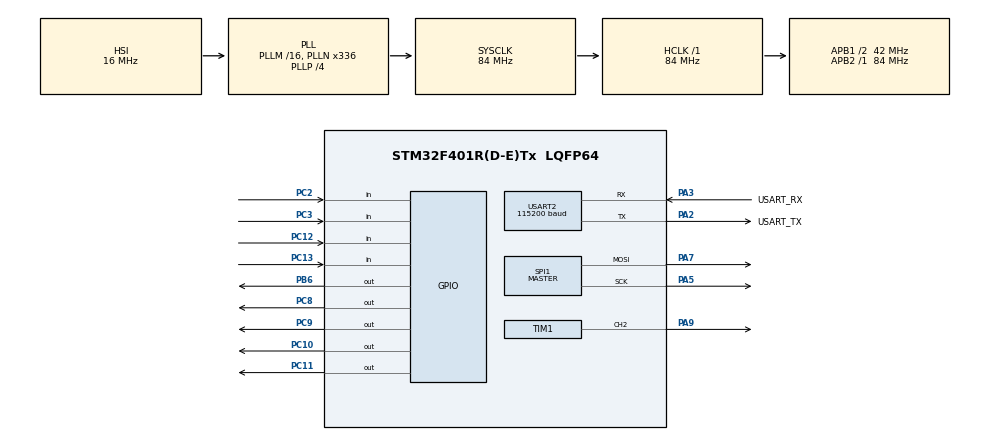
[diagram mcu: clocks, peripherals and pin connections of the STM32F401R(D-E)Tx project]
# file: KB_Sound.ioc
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Dma.Request0=USART2_TX
Dma.Request1=SPI1_TX
Dma.SPI1_TX.1.Direction=DMA_MEMORY_TO_PERIPH
Dma.SPI1_TX.1.FIFOMode=DMA_FIFOMODE_DISABLE
Dma.SPI1_TX.1.Instance=DMA2_Stream3
Dma.SPI1_TX.1.MemDataAlignment=DMA_MDATAALIGN_BYTE
Dma.SPI1_TX.1.MemInc=DMA_MINC_ENABLE
Dma.SPI1_TX.1.Mode=DMA_NORMAL
Dma.SPI1_TX.1.PeriphDataAlignment=DMA_PDATAALIGN_BYTE
Dma.SPI1_TX.1.PeriphInc=DMA_PINC_DISABLE
Dma.SPI1_TX.1.Priority=DMA_PRIORITY_LOW
Dma.USART2_TX.0.Direction=DMA_MEMORY_TO_PERIPH
Dma.USART2_TX.0.FIFOMode=DMA_FIFOMODE_DISABLE
Dma.USART2_TX.0.Instance=DMA1_Stream6
Dma.USART2_TX.0.MemDataAlignment=DMA_MDATAALIGN_BYTE
Dma.USART2_TX.0.MemInc=DMA_MINC_ENABLE
Dma.USART2_TX.0.Mode=DMA_NORMAL
Dma.USART2_TX.0.PeriphDataAlignment=DMA_PDATAALIGN_BYTE
Dma.USART2_TX.0.PeriphInc=DMA_PINC_DISABLE
Dma.USART2_TX.0.Priority=DMA_PRIORITY_LOW
Mcu.Family=STM32F4
Mcu.Name=STM32F401R(D-E)Tx
Mcu.Package=LQFP64
NVIC.DMA1_Stream6_IRQn=true\:0\:0\:false\:false\:true\:false\:true\:true
NVIC.DMA2_Stream3_IRQn=true\:0\:0\:false\:false\:true\:false\:true\:true
NVIC.PriorityGroup=NVIC_PRIORITYGROUP_1
NVIC.SPI1_IRQn=true\:0\:0\:false\:false\:true\:true\:true\:true
NVIC.TIM2_IRQn=true\:0\:0\:false\:false\:true\:true\:true\:true
NVIC.TIM3_IRQn=true\:1\:0\:true\:false\:true\:true\:true\:true
NVIC.USART2_IRQn=true\:0\:0\:false\:false\:true\:true\:true\:true
PA13.GPIO_Label=TMS
PA13.Mode=Serial_Wire
PA13.Signal=SYS_JTMS-SWDIO
PA14.GPIO_Label=TCK
PA14.Mode=Serial_Wire
PA14.Signal=SYS_JTCK-SWCLK
PA2.GPIO_Label=USART_TX
PA2.GPIO_Mode=GPIO_MODE_AF_PP
PA2.GPIO_PuPd=GPIO_NOPULL
PA2.GPIO_Speed=GPIO_SPEED_FREQ_LOW
PA2.Mode=Asynchronous
PA2.Signal=USART2_TX
PA3.GPIO_Label=USART_RX
PA3.GPIO_Mode=GPIO_MODE_AF_PP
PA3.GPIO_PuPd=GPIO_NOPULL
PA3.GPIO_Speed=GPIO_SPEED_FREQ_LOW
PA3.Mode=Asynchronous
PA3.Signal=USART2_RX
PA5.Mode=TX_Only_Simplex_Unidirect_Master
PA5.Signal=SPI1_SCK
PA7.Mode=TX_Only_Simplex_Unidirect_Master
PA7.Signal=SPI1_MOSI
PA9.Signal=S_TIM1_CH2
PB3.GPIO_Label=SWO
PB3.Signal=SYS_JTDO-SWO
PB6.Signal=GPIO_Output
PC10.Signal=GPIO_Output
PC11.Signal=GPIO_Output
PC12.Signal=GPIO_Input
PC13-ANTI_TAMP.Signal=GPIO_Input
PC14-OSC32_IN.Mode=LSE-External-Oscillator
PC14-OSC32_IN.Signal=RCC_OSC32_IN
PC15-OSC32_OUT.Mode=LSE-External-Oscillator
PC15-OSC32_OUT.Signal=RCC_OSC32_OUT
PC2.Signal=GPIO_Input
PC3.Signal=GPIO_Input
PC8.Signal=GPIO_Output
PC9.Signal=GPIO_Output
PH0\ -\ OSC_IN.Mode=HSE-External-Clock-Source
PH0\ -\ OSC_IN.Signal=RCC_OSC_IN
PH1\ -\ OSC_OUT.Mode=HSE-External-Clock-Source
PH1\ -\ OSC_OUT.Signal=RCC_OSC_OUT
ProjectManager.HeapSize=0x200
ProjectManager.StackSize=0x400
ProjectManager.TargetToolchain=STM32CubeIDE
RCC.48MHZClocksFreq_Value=48000000
RCC.AHBFreq_Value=84000000
RCC.APB1CLKDivider=RCC_HCLK_DIV2
RCC.APB1Freq_Value=42000000
RCC.APB1TimFreq_Value=84000000
RCC.APB2Freq_Value=84000000
RCC.APB2TimFreq_Value=84000000
RCC.CortexFreq_Value=84000000
RCC.HCLKFreq_Value=84000000
RCC.HSE_VALUE=8000000
RCC.HSI_VALUE=16000000
RCC.PLLN=336
RCC.PLLP=RCC_PLLP_DIV4
RCC.PLLQ=7
RCC.SYSCLKFreq_VALUE=84000000
RCC.SYSCLKSource=RCC_SYSCLKSOURCE_PLLCLK
RCC.VCOOutputFreq_Value=336000000
SH.S_TIM1_CH2.0=TIM1_CH2,PWM Generation2 CH2
SPI1.BaudRatePrescaler=SPI_BAUDRATEPRESCALER_4
SPI1.Direction=SPI_DIRECTION_2LINES
SPI1.Mode=SPI_MODE_MASTER
SPI1.VirtualType=VM_MASTER
TIM1.Channel-PWM\ Generation2\ CH2=TIM_CHANNEL_2
TIM1.Period=1908
TIM1.Prescaler=99
TIM1.Pulse-PWM\ Generation2\ CH2=954
TIM2.Period=9999
TIM2.Prescaler=8399
TIM3.Period=39
TIM3.Prescaler=8399
USART2.BaudRate=115200
USART2.VirtualMode=VM_ASYNC
VP_TIM1_VS_ClockSourceINT.Mode=Internal
VP_TIM2_VS_ClockSourceINT.Mode=Internal
VP_TIM3_VS_ClockSourceINT.Mode=Internal
board=NUCLEO-F401RE

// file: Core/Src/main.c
/* USER CODE BEGIN Header */
/**
  ******************************************************************************
  * @file           : main.c
  * @brief          : Main program body
  ******************************************************************************
  * @attention
  *
  * Copyright (c) 2024 STMicroelectronics.
  * All rights reserved.
  *
  * This software is licensed under terms that can be found in the LICENSE file
  * in the root directory of this software component.
  * If no LICENSE file comes with this software, it is provided AS-IS.
  *
  ******************************************************************************
  */
/* USER CODE END Header */
#include "main.h"

/* USER CODE BEGIN PD */
#define _DO4 3205
#define _DOD4 3031
#define _RE4 2856
#define _RED4 2699
#define _MI4 2544
#define _FA4 2405
#define _FAD4 2269
#define _SOL4 2141
#define _SOLD4 2023
#define _LA4 1908
#define _LAD4 1801
#define _SI4 1699

#define BASE 749

/* USER CODE END PD */

SPI_HandleTypeDef hspi1;
DMA_HandleTypeDef hdma_spi1_tx;

TIM_HandleTypeDef htim1;
TIM_HandleTypeDef htim2;
TIM_HandleTypeDef htim3;

UART_HandleTypeDef huart2;
DMA_HandleTypeDef hdma_usart2_tx;

/* USER CODE BEGIN PV */
uint8_t col = 0;	// current column to be read
GPIO_PinState prev[4][4] = {{GPIO_PIN_SET, GPIO_PIN_SET, GPIO_PIN_SET, GPIO_PIN_SET}, // transposed keyboard matrix of previous values
		{GPIO_PIN_SET, GPIO_PIN_SET, GPIO_PIN_SET, GPIO_PIN_SET},
		{GPIO_PIN_SET, GPIO_PIN_SET, GPIO_PIN_SET, GPIO_PIN_SET},
		{GPIO_PIN_SET, GPIO_PIN_SET, GPIO_PIN_SET, GPIO_PIN_SET}
};
GPIO_PinState prev2[4][4] = {{GPIO_PIN_SET, GPIO_PIN_SET, GPIO_PIN_SET, GPIO_PIN_SET}, // transposed keyboard matrix of the values read 2 cycles before
		{GPIO_PIN_SET, GPIO_PIN_SET, GPIO_PIN_SET, GPIO_PIN_SET},
		{GPIO_PIN_SET, GPIO_PIN_SET, GPIO_PIN_SET, GPIO_PIN_SET},
		{GPIO_PIN_SET, GPIO_PIN_SET, GPIO_PIN_SET, GPIO_PIN_SET}
};
GPIO_PinState col_activation[4][4] = {{GPIO_PIN_SET, GPIO_PIN_RESET, GPIO_PIN_RESET, GPIO_PIN_RESET}, // values to send to column GPIO pins for activation
		{GPIO_PIN_RESET, GPIO_PIN_SET, GPIO_PIN_RESET, GPIO_PIN_RESET},
		{GPIO_PIN_RESET, GPIO_PIN_RESET, GPIO_PIN_SET, GPIO_PIN_RESET},
		{GPIO_PIN_RESET, GPIO_PIN_RESET, GPIO_PIN_RESET, GPIO_PIN_SET}
};
char character[4][4] = {{'F', 'B', '7', '3'},	// character associated with each key
		{'E', 'A', '6', '2'},
		{'D', '9', '5', '1'},
		{'C', '8', '4', '0'}
};
char string[128]; 	// string for UART transmission
int length;			// length of string

uint8_t data[16][2] = {{0, 16}, {64, 8}, {64, 4}, {0, 2},
		{32, 16}, {32, 8}, {32, 4}, {32, 2},
		{16, 16}, {16, 8}, {16, 4}, {16, 2},
		{0, 16}, {8, 8}, {8, 4}, {0, 2}};
/* USER CODE END PV */

void SystemClock_Config(void);
static void MX_GPIO_Init(void);
static void MX_DMA_Init(void);
static void MX_USART2_UART_Init(void);
static void MX_TIM1_Init(void);
static void MX_TIM3_Init(void);
static void MX_SPI1_Init(void);
static void MX_TIM2_Init(void);

int main(void)
{

  /* MCU Configuration--------------------------------------------------------*/

  /* Reset of all peripherals, Initializes the Flash interface and the Systick. */
  HAL_Init();

  /* Configure the system clock */
  SystemClock_Config();

  /* Initialize all configured peripherals */
  MX_GPIO_Init();
  MX_DMA_Init();
  MX_USART2_UART_Init();
  MX_TIM1_Init();
  MX_TIM3_Init();
  MX_SPI1_Init();
  MX_TIM2_Init();
  /* USER CODE BEGIN 2 */
  // enable first column
  HAL_GPIO_WritePin(GPIOC, GPIO_PIN_11, col_activation[col][0]);
  HAL_GPIO_WritePin(GPIOC, GPIO_PIN_10, col_activation[col][1]);
  HAL_GPIO_WritePin(GPIOC, GPIO_PIN_9, col_activation[col][2]);
  HAL_GPIO_WritePin(GPIOC, GPIO_PIN_8, col_activation[col][3]);

  HAL_TIM_Base_Start_IT(&htim3);
  /* USER CODE END 2 */

  /* Infinite loop */
  while (1)
  {

  }
}

void SystemClock_Config(void)
{
  RCC_OscInitTypeDef RCC_OscInitStruct = {0};
  RCC_ClkInitTypeDef RCC_ClkInitStruct = {0};

  /** Configure the main internal regulator output voltage
  */
  __HAL_RCC_PWR_CLK_ENABLE();
  __HAL_PWR_VOLTAGESCALING_CONFIG(PWR_REGULATOR_VOLTAGE_SCALE2);

  /** Initializes the RCC Oscillators according to the specified parameters
  * in the RCC_OscInitTypeDef structure.
  */
  RCC_OscInitStruct.OscillatorType = RCC_OSCILLATORTYPE_HSI;
  RCC_OscInitStruct.HSIState = RCC_HSI_ON;
  RCC_OscInitStruct.HSICalibrationValue = RCC_HSICALIBRATION_DEFAULT;
  RCC_OscInitStruct.PLL.PLLState = RCC_PLL_ON;
  RCC_OscInitStruct.PLL.PLLSource = RCC_PLLSOURCE_HSI;
  RCC_OscInitStruct.PLL.PLLM = 16;
  RCC_OscInitStruct.PLL.PLLN = 336;
  RCC_OscInitStruct.PLL.PLLP = RCC_PLLP_DIV4;
  RCC_OscInitStruct.PLL.PLLQ = 7;
  if (HAL_RCC_OscConfig(&RCC_OscInitStruct) != HAL_OK)
  {
    Error_Handler();
  }

  /** Initializes the CPU, AHB and APB buses clocks
  */
  RCC_ClkInitStruct.ClockType = RCC_CLOCKTYPE_HCLK|RCC_CLOCKTYPE_SYSCLK
                              |RCC_CLOCKTYPE_PCLK1|RCC_CLOCKTYPE_PCLK2;
  RCC_ClkInitStruct.SYSCLKSource = RCC_SYSCLKSOURCE_PLLCLK;
  RCC_ClkInitStruct.AHBCLKDivider = RCC_SYSCLK_DIV1;
  RCC_ClkInitStruct.APB1CLKDivider = RCC_HCLK_DIV2;
  RCC_ClkInitStruct.APB2CLKDivider = RCC_HCLK_DIV1;

  if (HAL_RCC_ClockConfig(&RCC_ClkInitStruct, FLASH_LATENCY_2) != HAL_OK)
  {
    Error_Handler();
  }
}

static void MX_SPI1_Init(void)
{

  /* SPI1 parameter configuration*/
  hspi1.Instance = SPI1;
  hspi1.Init.Mode = SPI_MODE_MASTER;
  hspi1.Init.Direction = SPI_DIRECTION_2LINES;
  hspi1.Init.DataSize = SPI_DATASIZE_8BIT;
  hspi1.Init.CLKPolarity = SPI_POLARITY_LOW;
  hspi1.Init.CLKPhase = SPI_PHASE_1EDGE;
  hspi1.Init.NSS = SPI_NSS_SOFT;
  hspi1.Init.BaudRatePrescaler = SPI_BAUDRATEPRESCALER_4;
  hspi1.Init.FirstBit = SPI_FIRSTBIT_MSB;
  hspi1.Init.TIMode = SPI_TIMODE_DISABLE;
  hspi1.Init.CRCCalculation = SPI_CRCCALCULATION_DISABLE;
  hspi1.Init.CRCPolynomial = 10;
  if (HAL_SPI_Init(&hspi1) != HAL_OK)
  {
    Error_Handler();
  }

}

static void MX_TIM1_Init(void)
{

  TIM_ClockConfigTypeDef sClockSourceConfig = {0};
  TIM_MasterConfigTypeDef sMasterConfig = {0};
  TIM_OC_InitTypeDef sConfigOC = {0};
  TIM_BreakDeadTimeConfigTypeDef sBreakDeadTimeConfig = {0};

  htim1.Instance = TIM1;
  htim1.Init.Prescaler = 99;
  htim1.Init.CounterMode = TIM_COUNTERMODE_UP;
  htim1.Init.Period = 1908;
  htim1.Init.ClockDivision = TIM_CLOCKDIVISION_DIV1;
  htim1.Init.RepetitionCounter = 0;
  htim1.Init.AutoReloadPreload = TIM_AUTORELOAD_PRELOAD_DISABLE;
  if (HAL_TIM_Base_Init(&htim1) != HAL_OK)
  {
    Error_Handler();
  }
  sClockSourceConfig.ClockSource = TIM_CLOCKSOURCE_INTERNAL;
  if (HAL_TIM_ConfigClockSource(&htim1, &sClockSourceConfig) != HAL_OK)
  {
    Error_Handler();
  }
  if (HAL_TIM_PWM_Init(&htim1) != HAL_OK)
  {
    Error_Handler();
  }
  sMasterConfig.MasterOutputTrigger = TIM_TRGO_RESET;
  sMasterConfig.MasterSlaveMode = TIM_MASTERSLAVEMODE_DISABLE;
  if (HAL_TIMEx_MasterConfigSynchronization(&htim1, &sMasterConfig) != HAL_OK)
  {
    Error_Handler();
  }
  sConfigOC.OCMode = TIM_OCMODE_PWM1;
  sConfigOC.Pulse = 954;
  sConfigOC.OCPolarity = TIM_OCPOLARITY_HIGH;
  sConfigOC.OCNPolarity = TIM_OCNPOLARITY_HIGH;
  sConfigOC.OCFastMode = TIM_OCFAST_DISABLE;
  sConfigOC.OCIdleState = TIM_OCIDLESTATE_RESET;
  sConfigOC.OCNIdleState = TIM_OCNIDLESTATE_RESET;
  if (HAL_TIM_PWM_ConfigChannel(&htim1, &sConfigOC, TIM_CHANNEL_2) != HAL_OK)
  {
    Error_Handler();
  }
  sBreakDeadTimeConfig.OffStateRunMode = TIM_OSSR_DISABLE;
  sBreakDeadTimeConfig.OffStateIDLEMode = TIM_OSSI_DISABLE;
  sBreakDeadTimeConfig.LockLevel = TIM_LOCKLEVEL_OFF;
  sBreakDeadTimeConfig.DeadTime = 0;
  sBreakDeadTimeConfig.BreakState = TIM_BREAK_DISABLE;
  sBreakDeadTimeConfig.BreakPolarity = TIM_BREAKPOLARITY_HIGH;
  sBreakDeadTimeConfig.AutomaticOutput = TIM_AUTOMATICOUTPUT_DISABLE;
  if (HAL_TIMEx_ConfigBreakDeadTime(&htim1, &sBreakDeadTimeConfig) != HAL_OK)
  {
    Error_Handler();
  }
  HAL_TIM_MspPostInit(&htim1);

}

static void MX_TIM2_Init(void)
{

  TIM_ClockConfigTypeDef sClockSourceConfig = {0};
  TIM_MasterConfigTypeDef sMasterConfig = {0};

  htim2.Instance = TIM2;
  htim2.Init.Prescaler = 8399;
  htim2.Init.CounterMode = TIM_COUNTERMODE_UP;
  htim2.Init.Period = 9999;
  htim2.Init.ClockDivision = TIM_CLOCKDIVISION_DIV1;
  htim2.Init.AutoReloadPreload = TIM_AUTORELOAD_PRELOAD_DISABLE;
  if (HAL_TIM_Base_Init(&htim2) != HAL_OK)
  {
    Error_Handler();
  }
  sClockSourceConfig.ClockSource = TIM_CLOCKSOURCE_INTERNAL;
  if (HAL_TIM_ConfigClockSource(&htim2, &sClockSourceConfig) != HAL_OK)
  {
    Error_Handler();
  }
  sMasterConfig.MasterOutputTrigger = TIM_TRGO_RESET;
  sMasterConfig.MasterSlaveMode = TIM_MASTERSLAVEMODE_DISABLE;
  if (HAL_TIMEx_MasterConfigSynchronization(&htim2, &sMasterConfig) != HAL_OK)
  {
    Error_Handler();
  }

}

static void MX_TIM3_Init(void)
{

  TIM_ClockConfigTypeDef sClockSourceConfig = {0};
  TIM_MasterConfigTypeDef sMasterConfig = {0};

  htim3.Instance = TIM3;
  htim3.Init.Prescaler = 8399;
  htim3.Init.CounterMode = TIM_COUNTERMODE_UP;
  htim3.Init.Period = 39;
  htim3.Init.ClockDivision = TIM_CLOCKDIVISION_DIV1;
  htim3.Init.AutoReloadPreload = TIM_AUTORELOAD_PRELOAD_DISABLE;
  if (HAL_TIM_Base_Init(&htim3) != HAL_OK)
  {
    Error_Handler();
  }
  sClockSourceConfig.ClockSource = TIM_CLOCKSOURCE_INTERNAL;
  if (HAL_TIM_ConfigClockSource(&htim3, &sClockSourceConfig) != HAL_OK)
  {
    Error_Handler();
  }
  sMasterConfig.MasterOutputTrigger = TIM_TRGO_RESET;
  sMasterConfig.MasterSlaveMode = TIM_MASTERSLAVEMODE_DISABLE;
  if (HAL_TIMEx_MasterConfigSynchronization(&htim3, &sMasterConfig) != HAL_OK)
  {
    Error_Handler();
  }

}

static void MX_USART2_UART_Init(void)
{

  huart2.Instance = USART2;
  huart2.Init.BaudRate = 115200;
  huart2.Init.WordLength = UART_WORDLENGTH_8B;
  huart2.Init.StopBits = UART_STOPBITS_1;
  huart2.Init.Parity = UART_PARITY_NONE;
  huart2.Init.Mode = UART_MODE_TX_RX;
  huart2.Init.HwFlowCtl = UART_HWCONTROL_NONE;
  huart2.Init.OverSampling = UART_OVERSAMPLING_16;
  if (HAL_UART_Init(&huart2) != HAL_OK)
  {
    Error_Handler();
  }

}

static void MX_DMA_Init(void)
{

  /* DMA controller clock enable */
  __HAL_RCC_DMA1_CLK_ENABLE();
  __HAL_RCC_DMA2_CLK_ENABLE();

  /* DMA interrupt init */
  /* DMA1_Stream6_IRQn interrupt configuration */
  HAL_NVIC_SetPriority(DMA1_Stream6_IRQn, 0, 0);
  HAL_NVIC_EnableIRQ(DMA1_Stream6_IRQn);
  /* DMA2_Stream3_IRQn interrupt configuration */
  HAL_NVIC_SetPriority(DMA2_Stream3_IRQn, 0, 0);
  HAL_NVIC_EnableIRQ(DMA2_Stream3_IRQn);

}

static void MX_GPIO_Init(void)
{
  GPIO_InitTypeDef GPIO_InitStruct = {0};

  /* GPIO Ports Clock Enable */
  __HAL_RCC_GPIOC_CLK_ENABLE();
  __HAL_RCC_GPIOH_CLK_ENABLE();
  __HAL_RCC_GPIOA_CLK_ENABLE();
  __HAL_RCC_GPIOB_CLK_ENABLE();

  /*Configure GPIO pin Output Level */
  HAL_GPIO_WritePin(GPIOC, GPIO_PIN_8|GPIO_PIN_9|GPIO_PIN_10|GPIO_PIN_11, GPIO_PIN_RESET);

  /*Configure GPIO pin Output Level */
  HAL_GPIO_WritePin(GPIOB, GPIO_PIN_6, GPIO_PIN_RESET);

  /*Configure GPIO pins : PC13 PC2 PC3 PC12 */
  GPIO_InitStruct.Pin = GPIO_PIN_13|GPIO_PIN_2|GPIO_PIN_3|GPIO_PIN_12;
  GPIO_InitStruct.Mode = GPIO_MODE_INPUT;
  GPIO_InitStruct.Pull = GPIO_NOPULL;
  HAL_GPIO_Init(GPIOC, &GPIO_InitStruct);

  /*Configure GPIO pins : PC8 PC9 PC10 PC11 */
  GPIO_InitStruct.Pin = GPIO_PIN_8|GPIO_PIN_9|GPIO_PIN_10|GPIO_PIN_11;
  GPIO_InitStruct.Mode = GPIO_MODE_OUTPUT_PP;
  GPIO_InitStruct.Pull = GPIO_NOPULL;
  GPIO_InitStruct.Speed = GPIO_SPEED_FREQ_LOW;
  HAL_GPIO_Init(GPIOC, &GPIO_InitStruct);

  /*Configure GPIO pin : PB6 */
  GPIO_InitStruct.Pin = GPIO_PIN_6;
  GPIO_InitStruct.Mode = GPIO_MODE_OUTPUT_PP;
  GPIO_InitStruct.Pull = GPIO_NOPULL;
  GPIO_InitStruct.Speed = GPIO_SPEED_FREQ_LOW;
  HAL_GPIO_Init(GPIOB, &GPIO_InitStruct);

}

/* USER CODE BEGIN 4 */
void HAL_TIM_PeriodElapsedCallback(TIM_HandleTypeDef *htim) {
	if (htim->Instance == TIM2) {
		HAL_TIM_PWM_Stop(&htim1, TIM_CHANNEL_2);
		HAL_TIM_Base_Stop_IT(&htim2);
	}

	if (htim->Instance == TIM3) {
		GPIO_PinState r[4]; // values read on each row
		r[0] = HAL_GPIO_ReadPin(GPIOC, GPIO_PIN_3);
		r[1] = HAL_GPIO_ReadPin(GPIOC, GPIO_PIN_2);
		r[2] = HAL_GPIO_ReadPin(GPIOC, GPIO_PIN_13);
		r[3] = HAL_GPIO_ReadPin(GPIOC, GPIO_PIN_12);
		for (int i = 0; i < 4; i++) { // iterate through rows
			if (r[i] == GPIO_PIN_RESET && prev[col][i] == GPIO_PIN_RESET && prev2[col][i] == GPIO_PIN_SET) { // requires key to be held for 1 full cycle (16ms) before input is processed to prevent bouncing effects
				if (character[col][i] == '0') {
					HAL_TIM_PWM_Stop(&htim1, TIM_CHANNEL_2);

					htim1.Instance->ARR = _LA4;
					htim1.Instance->CCR2 = _LA4/2;
					htim1.Instance->CNT = 0;

					htim2.Instance->CNT = 0;
					HAL_TIM_PWM_Start(&htim1, TIM_CHANNEL_2);
					HAL_TIM_Base_Start_IT(&htim2);
				}
				else if (character[col][i] == '3') {
					HAL_TIM_PWM_Stop(&htim1, TIM_CHANNEL_2);

					htim1.Instance->ARR = _DO4;
					htim1.Instance->CCR2 = _DO4/2;
					htim1.Instance->CNT = 0;

					htim2.Instance->CNT = 0;
					HAL_TIM_PWM_Start(&htim1, TIM_CHANNEL_2);
					HAL_TIM_Base_Start_IT(&htim2);
				}
				else if (character[col][i] == 'C') {
					HAL_TIM_PWM_Stop(&htim1, TIM_CHANNEL_2);

					htim1.Instance->ARR = _SOL4;
					htim1.Instance->CCR2 = _SOL4/2;
					htim1.Instance->CNT = 0;

					htim2.Instance->CNT = 0;
					HAL_TIM_PWM_Start(&htim1, TIM_CHANNEL_2);
					HAL_TIM_Base_Start_IT(&htim2);
				}
				else if (character[col][i] == 'F') {
					HAL_TIM_PWM_Stop(&htim1, TIM_CHANNEL_2);

					htim1.Instance->ARR = _RE4;
					htim1.Instance->CCR2 = _RE4/2;
					htim1.Instance->CNT = 0;

					htim2.Instance->CNT = 0;
					HAL_TIM_PWM_Start(&htim1, TIM_CHANNEL_2);
					HAL_TIM_Base_Start_IT(&htim2);
				} else {
					HAL_SPI_Transmit_DMA(&hspi1, data[col + 4*i], 2);
				}
			}
			prev2[col][i] = prev[col][i]; // update previous values matrices
			prev[col][i] = r[i];
		}
		col = (col + 1) % 4; // iterate through columns
		HAL_GPIO_WritePin(GPIOC, GPIO_PIN_11, col_activation[col][0]);
		HAL_GPIO_WritePin(GPIOC, GPIO_PIN_10, col_activation[col][1]);
		HAL_GPIO_WritePin(GPIOC, GPIO_PIN_9, col_activation[col][2]);
		HAL_GPIO_WritePin(GPIOC, GPIO_PIN_8, col_activation[col][3]);
	}
}

	void HAL_SPI_TxCpltCallback(SPI_HandleTypeDef *hspi) {
		HAL_GPIO_WritePin(GPIOB, GPIO_PIN_6, GPIO_PIN_SET);		// set and quickly reset RCLK to send data from serial registers to LED matrix
		HAL_GPIO_WritePin(GPIOB, GPIO_PIN_6, GPIO_PIN_RESET);
	}
/* USER CODE END 4 */

void Error_Handler(void)
{
  __disable_irq();
  while (1)
  {
  }
}
